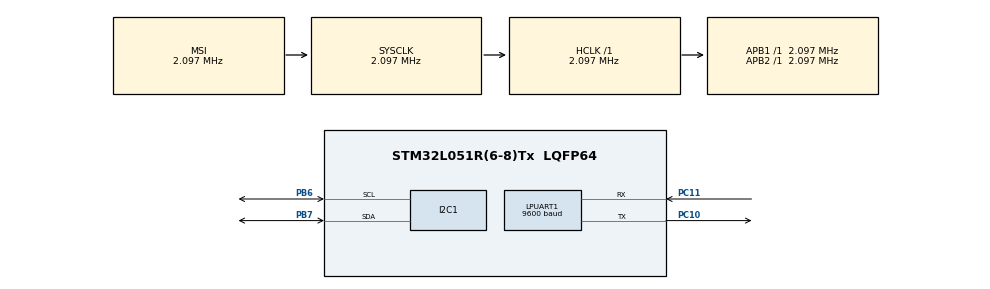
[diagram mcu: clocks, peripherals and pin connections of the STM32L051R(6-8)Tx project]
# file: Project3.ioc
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LPUART1.BaudRate=9600
Mcu.Family=STM32L0
Mcu.Name=STM32L051R(6-8)Tx
Mcu.Package=LQFP64
PB6.Mode=I2C
PB6.Signal=I2C1_SCL
PB7.Mode=I2C
PB7.Signal=I2C1_SDA
PC10.Mode=Asynchronous
PC10.Signal=LPUART1_TX
PC11.Mode=Asynchronous
PC11.Signal=LPUART1_RX
PC14-OSC32_IN.Mode=LSE-External-Clock-Source
PC14-OSC32_IN.Signal=RCC_OSC32_IN
PH0-OSC_IN.Mode=HSE-External-Clock-Source
PH0-OSC_IN.Signal=RCC_OSC_IN
ProjectManager.HeapSize=0x200
ProjectManager.StackSize=0x400
ProjectManager.TargetToolchain=EWARM V8.32
RCC.AHBFreq_Value=2097000
RCC.APB1Freq_Value=2097000
RCC.APB1TimFreq_Value=2097000
RCC.APB2Freq_Value=2097000
RCC.APB2TimFreq_Value=2097000
RCC.HSE_VALUE=8000000
RCC.HSI16_VALUE=16000000
RCC.HSI_VALUE=16000000
RCC.LSE_VALUE=32768
RCC.MSI_VALUE=2097000
RCC.SYSCLKFreq_VALUE=2097000
RCC.VCOOutputFreq_Value=48000000
board=custom

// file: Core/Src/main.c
/* USER CODE BEGIN Header */
/**
  ******************************************************************************
  * @file           : main.c
  * @brief          : Main program body
  ******************************************************************************
  * @attention
  *
  * <h2><center>&copy; Copyright (c) 2021 STMicroelectronics.
  * All rights reserved.</center></h2>
  *
  * This software component is licensed by ST under BSD 3-Clause license,
  * the "License"; You may not use this file except in compliance with the
  * License. You may obtain a copy of the License at:
  *                        opensource.org/licenses/BSD-3-Clause
  *
  ******************************************************************************
  */
/* USER CODE END Header */
#include "main.h"

/* USER CODE BEGIN Includes */
#include "stdlib.h"
#include "string.h"
#include "stdio.h"

/* USER CODE END Includes */

I2C_HandleTypeDef hi2c1;

UART_HandleTypeDef hlpuart1;

/* USER CODE BEGIN PV */

uint16_t Dev_Add = 0011000;       // Acc Device Address
uint16_t Read_Dev_Add = 0x31;     // Device Read Address (00110001)
uint16_t Write_Dev_Add = 0x30 ;   // Device Write Address (00110000)
uint8_t Transmit_Data[1] ;        // Transmit buffer
uint8_t Transmit_Data_1[1] ;      // CTRL2 reg transmit buffer
uint8_t Receive_Data[2] ;         // Receive buffer
uint8_t printData[3];
uint16_t CTRL_Reg_0  =  0x1E ;    // CTRL Reg 0 Register Address
uint16_t CTRL_Reg_1  =  0x20 ;    // CTRL Reg 1 Register Address
uint16_t CTRL_Reg_2 =   0x21 ;    // CTRL Reg 2 Register Address
uint16_t OUT_X_H_Reg =  0x29 ;    //
uint16_t OUT_Y_H_Reg =  0x2B ;
uint16_t Status_Reg  =  0x27 ;
uint16_t OUT_Z_H_Reg     =  0x2D;
uint8_t ctrl_reg_1 = 0x20 ;

uint8_t status_reg = 0x27 ;
/*-----------*/
uint8_t transmit_ctrl_1_reg[1] ;
uint8_t transmit_ctrl_2_reg[1]  ;
uint8_t sonuc ;
/* USER CODE END PV */

void SystemClock_Config(void);
static void MX_GPIO_Init(void);
static void MX_I2C1_Init(void);
static void MX_LPUART1_UART_Init(void);

/* USER CODE BEGIN 0 */

#ifdef __GNUC__
/* With GCC/RAISONANCE, small printf (option LD Linker->Libraries->Small printf
 set to 'Yes') calls __io_putchar() */
#define PUTCHAR_PROTOTYPE int __io_putchar(int ch)
#else
#define PUTCHAR_PROTOTYPE int fputc(int ch, FILE *f)
#endif /* __GNUC__ */

/* USER CODE END 0 */

int main(void)
{

  /* MCU Configuration--------------------------------------------------------*/

  /* Reset of all peripherals, Initializes the Flash interface and the Systick. */
  HAL_Init();

  /* Configure the system clock */
  SystemClock_Config();

  /* Initialize all configured peripherals */
  MX_GPIO_Init();
  MX_I2C1_Init();
  MX_LPUART1_UART_Init();
  /* USER CODE BEGIN 2 */

  Receive_Data[0] = 8 ;
  Receive_Data[1] = 8 ;
  Transmit_Data[0] = 31 ;
  Transmit_Data_1[0] = 0 ;

/*-------------ACC INIT 5(5.376Khz)------------*/

  Receive_Data[0] = 8 ;
  Receive_Data[1] = 8 ;
  Transmit_Data[0] = 159 ;
  Transmit_Data_1[0] = 0 ;
  do{
      sonuc = HAL_I2C_Mem_Write(&hi2c1, Write_Dev_Add, CTRL_Reg_1, I2C_MEMADD_SIZE_8BIT, (uint8_t *)Transmit_Data, strlen((char *)Transmit_Data), 1000);
      HAL_Delay(200);
      printf("Yazma fonk sonuc = %d\r\n",sonuc);
    }while(sonuc != HAL_OK);

    do{
      sonuc = HAL_I2C_Mem_Read(&hi2c1, Read_Dev_Add, CTRL_Reg_1, I2C_MEMADD_SIZE_8BIT, (uint8_t *)Receive_Data, strlen((char *)Receive_Data), 1000);
      printf("CTRL 1 Register Degeri = %d\n\r",Receive_Data[0]);
      printf("Okuma fonk sonuc = %d\r\n",sonuc) ;
    }while(sonuc != HAL_OK);

  /*CTRL_Reg_2 gerekli ayarlama yapiliyor ve okunuyor*/
     do {
      sonuc = HAL_I2C_Mem_Write(&hi2c1, Write_Dev_Add, CTRL_Reg_2, I2C_MEMADD_SIZE_8BIT, (uint8_t *)Transmit_Data_1, strlen((char *)Transmit_Data), 1000);
      HAL_Delay(200);
      printf("Yazma fonk sonuc = %d\r\n",sonuc);
  } while (sonuc != HAL_OK);

  do {
    sonuc = HAL_I2C_Mem_Read(&hi2c1, Read_Dev_Add, CTRL_Reg_2, I2C_MEMADD_SIZE_8BIT, (uint8_t *)Receive_Data, strlen((char *)Receive_Data), 1000);
    printf("CTRL Reg 2 Register Degeri = %d\n\r",Receive_Data[0]);
    printf("Okuma fonk sonuc = %d\r\n",sonuc) ;
  } while(sonuc != HAL_OK);

/*---------------------------------------------*/

/* USER CODE END 2 */

  /* Infinite loop */
  while (1)
  {

    /* USER CODE BEGIN 3 */

    /*-----X, Y ve Z axis olcumu icin kullanilan kod parcasi(Delay miktarlarini duruma gore degistirebilirsin)------*/

    do{
      sonuc = HAL_I2C_Mem_Read(&hi2c1, Read_Dev_Add, OUT_Z_H_Reg, I2C_MEMADD_SIZE_8BIT, (uint8_t *)Receive_Data, strlen((char *)Receive_Data), 1000);
      if(Receive_Data[0] == 0 ){
      Receive_Data[0]+=1;
      }
      //printf("Out Z Cikis Degerleri = %d\n\r",Receive_Data[0]);
      //printf("Okuma fonk sonuc = %d\r\n",sonuc) ;
      printData[0] = Receive_Data[0];

    }while(sonuc!= HAL_OK);
  //HAL_Delay(1000);

  do{
      sonuc = HAL_I2C_Mem_Read(&hi2c1, Read_Dev_Add, OUT_Y_H_Reg, I2C_MEMADD_SIZE_8BIT, (uint8_t *)Receive_Data, strlen((char *)Receive_Data), 1000);
      if(Receive_Data[0]==0){
      Receive_Data[0]+=1;
      }
      //printf("Out Y Cikis Degerleri = %d\n\r",Receive_Data[0]);
      //printf("Okuma fonk sonuc = %d\r\n",sonuc) ;
      printData[1] = Receive_Data[0];

    }while(sonuc!= HAL_OK);
//HAL_Delay(1000);

    do{
      sonuc = HAL_I2C_Mem_Read(&hi2c1, Read_Dev_Add, OUT_X_H_Reg, I2C_MEMADD_SIZE_8BIT, (uint8_t *)Receive_Data,        strlen((char *)Receive_Data), 1000);
      if(Receive_Data[0] == 0){
      Receive_Data[0]+=1;
      }
      //printf("Out X Cikis Degerleri = %d\n\r",Receive_Data[0]);
      //printf("Okuma fonk sonuc = %d\r\n",sonuc) ;
      printData[2] = Receive_Data[0];

    }while(sonuc!= HAL_OK);
HAL_Delay(50);
/*Butun sonuclar TTL ile gonderiliyor.*/
printf("X axis: %d      Y axis: %d      Z axis: %d\r\n",printData[2], printData[1], printData[0]);
HAL_Delay(1000);
/*--------------------------------------------------------------*/

  }

  /* USER CODE END 3 */
}

void SystemClock_Config(void)
{
  RCC_OscInitTypeDef RCC_OscInitStruct = {0};
  RCC_ClkInitTypeDef RCC_ClkInitStruct = {0};
  RCC_PeriphCLKInitTypeDef PeriphClkInit = {0};

  /** Configure the main internal regulator output voltage
  */
  __HAL_PWR_VOLTAGESCALING_CONFIG(PWR_REGULATOR_VOLTAGE_SCALE1);
  /** Initializes the RCC Oscillators according to the specified parameters
  * in the RCC_OscInitTypeDef structure.
  */
  RCC_OscInitStruct.OscillatorType = RCC_OSCILLATORTYPE_MSI;
  RCC_OscInitStruct.MSIState = RCC_MSI_ON;
  RCC_OscInitStruct.MSICalibrationValue = 0;
  RCC_OscInitStruct.MSIClockRange = RCC_MSIRANGE_5;
  RCC_OscInitStruct.PLL.PLLState = RCC_PLL_NONE;
  if (HAL_RCC_OscConfig(&RCC_OscInitStruct) != HAL_OK)
  {
    Error_Handler();
  }
  /** Initializes the CPU, AHB and APB buses clocks
  */
  RCC_ClkInitStruct.ClockType = RCC_CLOCKTYPE_HCLK|RCC_CLOCKTYPE_SYSCLK
                              |RCC_CLOCKTYPE_PCLK1|RCC_CLOCKTYPE_PCLK2;
  RCC_ClkInitStruct.SYSCLKSource = RCC_SYSCLKSOURCE_MSI;
  RCC_ClkInitStruct.AHBCLKDivider = RCC_SYSCLK_DIV1;
  RCC_ClkInitStruct.APB1CLKDivider = RCC_HCLK_DIV1;
  RCC_ClkInitStruct.APB2CLKDivider = RCC_HCLK_DIV1;

  if (HAL_RCC_ClockConfig(&RCC_ClkInitStruct, FLASH_LATENCY_0) != HAL_OK)
  {
    Error_Handler();
  }
  PeriphClkInit.PeriphClockSelection = RCC_PERIPHCLK_LPUART1|RCC_PERIPHCLK_I2C1;
  PeriphClkInit.Lpuart1ClockSelection = RCC_LPUART1CLKSOURCE_PCLK1;
  PeriphClkInit.I2c1ClockSelection = RCC_I2C1CLKSOURCE_PCLK1;
  if (HAL_RCCEx_PeriphCLKConfig(&PeriphClkInit) != HAL_OK)
  {
    Error_Handler();
  }
}

static void MX_I2C1_Init(void)
{

  hi2c1.Instance = I2C1;
  hi2c1.Init.Timing = 0x00000708;
  hi2c1.Init.OwnAddress1 = 0;
  hi2c1.Init.AddressingMode = I2C_ADDRESSINGMODE_7BIT;
  hi2c1.Init.DualAddressMode = I2C_DUALADDRESS_DISABLE;
  hi2c1.Init.OwnAddress2 = 0;
  hi2c1.Init.OwnAddress2Masks = I2C_OA2_NOMASK;
  hi2c1.Init.GeneralCallMode = I2C_GENERALCALL_DISABLE;
  hi2c1.Init.NoStretchMode = I2C_NOSTRETCH_DISABLE;
  if (HAL_I2C_Init(&hi2c1) != HAL_OK)
  {
    Error_Handler();
  }
  /** Configure Analogue filter
  */
  if (HAL_I2CEx_ConfigAnalogFilter(&hi2c1, I2C_ANALOGFILTER_ENABLE) != HAL_OK)
  {
    Error_Handler();
  }
  /** Configure Digital filter
  */
  if (HAL_I2CEx_ConfigDigitalFilter(&hi2c1, 0) != HAL_OK)
  {
    Error_Handler();
  }

}

static void MX_LPUART1_UART_Init(void)
{

  hlpuart1.Instance = LPUART1;
  hlpuart1.Init.BaudRate = 9600;
  hlpuart1.Init.WordLength = UART_WORDLENGTH_7B;
  hlpuart1.Init.StopBits = UART_STOPBITS_1;
  hlpuart1.Init.Parity = UART_PARITY_NONE;
  hlpuart1.Init.Mode = UART_MODE_TX_RX;
  hlpuart1.Init.HwFlowCtl = UART_HWCONTROL_NONE;
  hlpuart1.Init.OneBitSampling = UART_ONE_BIT_SAMPLE_DISABLE;
  hlpuart1.AdvancedInit.AdvFeatureInit = UART_ADVFEATURE_NO_INIT;
  if (HAL_UART_Init(&hlpuart1) != HAL_OK)
  {
    Error_Handler();
  }

}

static void MX_GPIO_Init(void)
{

  /* GPIO Ports Clock Enable */
  __HAL_RCC_GPIOC_CLK_ENABLE();
  __HAL_RCC_GPIOH_CLK_ENABLE();
  __HAL_RCC_GPIOB_CLK_ENABLE();

}

/* USER CODE BEGIN 4 */
/**
 * @brief Retargets the C library printf function to the USART.
 * @param None
 * @retval None
 */
PUTCHAR_PROTOTYPE
{
 /* Place your implementation of fputc here */
 /* e.g. write a character to the USART2 and Loop until the end of transmission */
 HAL_UART_Transmit(&hlpuart1, (uint8_t *)&ch, 1, 0xFFFF);

return ch;
}
/* USER CODE END 4 */

void Error_Handler(void)
{
}

/************************ (C) COPYRIGHT STMicroelectronics *****END OF FILE****/
